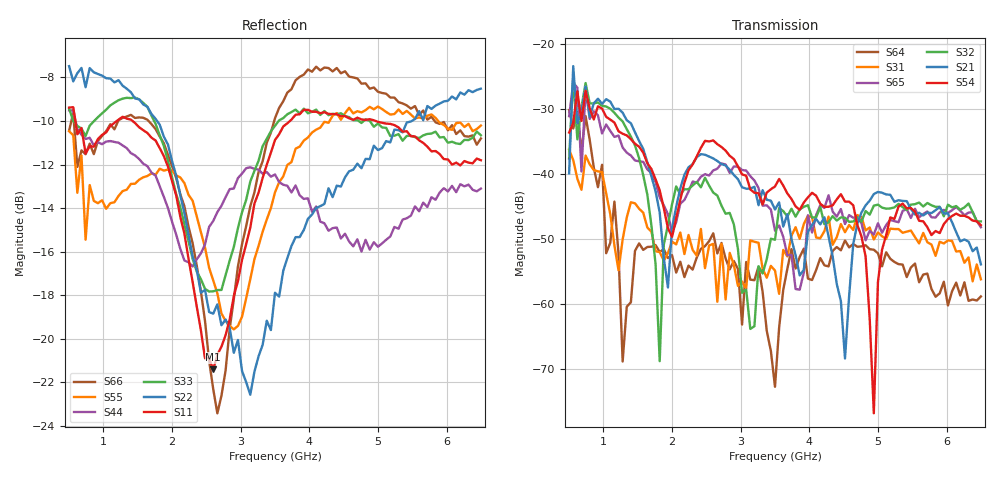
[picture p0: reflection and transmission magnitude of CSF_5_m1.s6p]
!Keysight Technologies,M9804A,MY58100912,A.14.10.03
!Date: Thursday, April 27, 2023 10:28:33
!Correction: S11(C  6-Port  )
!S12(C  6-Port  )
!S13(C  6-Port  )
!S14(C  6-Port  )
!S15(C  6-Port  )
!S16(C  6-Port  )
!S21(C  6-Port  )
!S22(C  6-Port  )
!S23(C  6-Port  )
!S24(C  6-Port  )
!S25(C  6-Port  )
!S26(C  6-Port  )
!S31(C  6-Port  )
!S32(C  6-Port  )
!S33(C  6-Port  )
!S34(C  6-Port  )
!S35(C  6-Port  )
!S36(C  6-Port  )
!S41(C  6-Port  )
!S42(C  6-Port  )
!S43(C  6-Port  )
!S44(C  6-Port  )
!S45(C  6-Port  )
!S46(C  6-Port  )
!S51(C  6-Port  )
!S52(C  6-Port  )
!S53(C  6-Port  )
!S54(C  6-Port  )
!S55(C  6-Port  )
!S56(C  6-Port  )
!S61(C  6-Port  )
!S62(C  6-Port  )
!S63(C  6-Port  )
!S64(C  6-Port  )
!S65(C  6-Port  )
!S66(C  6-Port  )
!S6P File: Measurement: :
# Hz S  RI  R 50
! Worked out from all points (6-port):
!   101 points, 500 MHz to 6.5 GHz, reference 50 ohm
!   strongest paths, dB at 500 MHz, 2 GHz, 3.5 GHz, 5 GHz, 6.5 GHz:
!     S54: -33.6, -49.7, -41.9, -56.6, -47.9
!     S21: -39.9, -48.3, -45.5, -42.8, -53.9
!     S32: -37.6, -44.7, -50.1, -44.7, -47.3
!     S65: -31.1, -49.1, -48.7, -47.6, -48.2
!     S31: -36.2, -50.4, -54.9, -49.0, -56.2
!     S64: -30.1, -52.5, -72.8, -52.2, -58.9
!   lowest |S11| = -21.4 dB at 2.6 GHz (marker M1), VSWR 1.19, Z = 42.4 + j2.14 ohm
!   |S11| at or under -10 dB: 590.5 MHz to 1.196 GHz (605.3 MHz wide, 67.8 % of centre); 1.424 GHz to 3.718 GHz (2.294 GHz wide, 89.2 % of centre); 4.966 GHz to end of sweep
